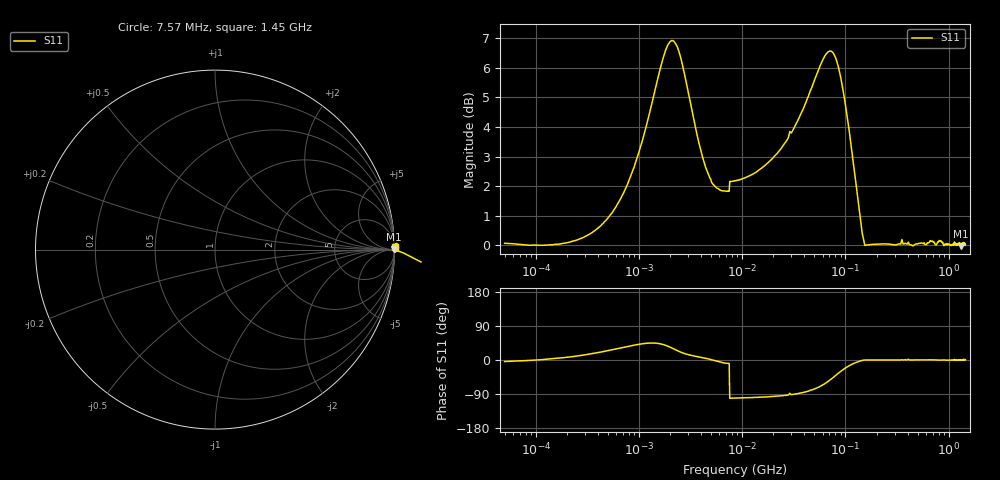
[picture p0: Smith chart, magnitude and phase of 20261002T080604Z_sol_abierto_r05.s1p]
! prueba_sol / sol_abierto / r05
# HZ S RI R 50
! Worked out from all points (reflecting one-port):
!   501 points, 50 kHz to 1.45 GHz, reference 50 ohm
!   lowest |S11| = 0.0 dB at 1.315 GHz (marker M1), VSWR 691.25, Z = 1.31e+04 + j1.68e+04 ohm
!   phase of S11 starts at -4 deg and turns +5 deg over the sweep
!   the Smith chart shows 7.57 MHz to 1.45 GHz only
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50000  1.006 -0.0705
183000  1.003 0.1041
363500  1.008 0.3153
658000  1.02 0.6264
1180000  1.144 1.109
1630000  1.483 1.353
1990000  1.825 1.242
2440000  1.961 0.82
2890000  1.807 0.4958
3430000  1.589 0.2959
4870000  1.299 0.0432
7300000  1.219 -0.1929
7750000  -0.2409 -1.26
8560000  -0.2354 -1.264
1.81e7  -0.1675 -1.373
3.16e7  -0.0118 -1.577
4.87e7  0.3964 -1.835
6.49e7  1.046 -1.829
7.39e7  1.4 -1.598
8.65e7  1.651 -1.099
9.82e7  1.629 -0.675
1e8  1.611 -0.6191
1.18e8  1.377 -0.2438
1.36e8  1.147 -0.0687
1.63e8  1.002 -0.000415
4.06e8  1.012 0.0375
1.315e9  0.9971 0.0037
1.45e9  1.001 0.0156
